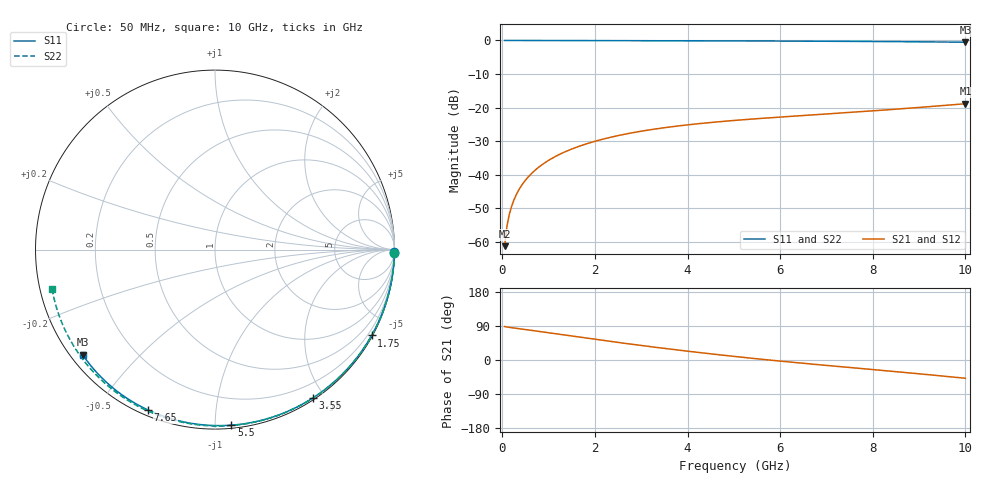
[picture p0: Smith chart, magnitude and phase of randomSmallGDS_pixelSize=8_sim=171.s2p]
! freq	dB(S11)	phase(S11)	dB(S12)	phase(S12)
!  dB(S21)	phase(S21)	dB(S22)	phase(S22)
!S-par simulation data
#  GHz  S  DB  R 50
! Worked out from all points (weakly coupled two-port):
!   200 points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, 50 MHz to 10 GHz, reference 50 ohm
!   highest |S21| = -18.85 dB at 10 GHz (marker M1); lowest = -61.3 dB at 50 MHz (marker M2)
!   lowest |S11| = -0.5 dB at 10 GHz (marker M3), VSWR 33.37, Z = 1.68 - j17.4 ohm
!   |S11| at or under -10 dB: nowhere
!   |S22| runs from -0.6 to 0.0 dB; largest |S21 - S12| = 0
!   S11 on the Smith chart (normalised r, x): 50 MHz: open; 1.75 GHz: 0.04, -3.91; 3.55 GHz: 0.02, -1.85; 5.5 GHz: 0.02, -1.10; 7.65 GHz: 0.02, -0.67; 10 GHz: 0.03, -0.35
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0.05  -0.00 -0.8  -61.29 88.3  -61.29 88.3  -0.00 -1.0
0.1  -0.00 -1.7  -55.36 87.0  -55.36 87.0  -0.00 -2.0
0.15  -0.00 -2.5  -51.92 86.1  -51.92 86.1  -0.00 -2.9
0.2  -0.00 -3.3  -49.47 85.2  -49.47 85.2  -0.00 -3.9
0.25  -0.00 -4.2  -47.57 84.5  -47.57 84.5  -0.00 -4.9
0.35  -0.00 -5.8  -44.69 82.9  -44.69 82.9  -0.01 -6.8
0.5  -0.01 -8.3  -41.63 80.4  -41.63 80.4  -0.01 -9.7
0.7  -0.01 -11.6  -38.75 77.0  -38.75 77.0  -0.02 -13.6
1  -0.02 -16.6  -35.72 71.8  -35.72 71.8  -0.02 -19.3
1.35  -0.03 -22.3  -33.21 65.7  -33.21 65.7  -0.03 -26.0
1.75  -0.04 -28.7  -31.10 58.8  -31.10 58.8  -0.05 -33.5
2.6  -0.06 -42.2  -28.06 44.7  -28.06 44.7  -0.07 -49.1
3.4  -0.08 -54.5  -26.19 32.1  -26.19 32.1  -0.09 -63.2
3.55  -0.09 -56.7  -25.90 29.9  -25.90 29.9  -0.10 -65.8
4.3  -0.11 -67.8  -24.71 19.0  -24.71 19.0  -0.12 -78.5
5.05  -0.13 -78.4  -23.79 8.9  -23.79 8.9  -0.15 -90.8
5.5  -0.15 -84.6  -23.31 3.2  -23.31 3.2  -0.18 -98.0
6.7  -0.21 -100.6  -22.19 -11.0  -22.19 -11.0  -0.25 -116.4
7.65  -0.28 -112.7  -21.32 -21.4  -21.32 -21.4  -0.32 -130.7
8.35  -0.34 -121.4  -20.63 -29.1  -20.63 -29.1  -0.39 -141.2
9.2  -0.42 -131.8  -19.75 -38.7  -19.75 -38.7  -0.48 -154.0
10  -0.52 -141.6  -18.85 -48.2  -18.85 -48.2  -0.59 -166.4
